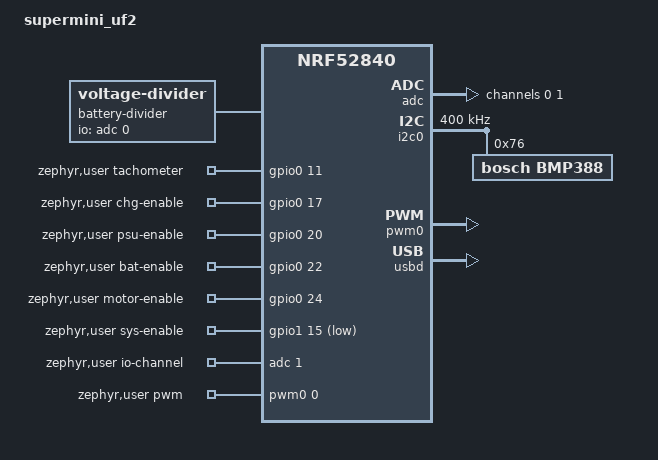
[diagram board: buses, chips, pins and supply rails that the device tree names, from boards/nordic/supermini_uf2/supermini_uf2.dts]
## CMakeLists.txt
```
#
# Copyright (c) 2018 Nordic Semiconductor
#
# SPDX-License-Identifier: LicenseRef-Nordic-5-Clause
#
cmake_minimum_required(VERSION 3.20.0)

find_package(Zephyr REQUIRED HINTS $ENV{ZEPHYR_BASE})
project(NONE)

FILE(GLOB_RECURSE app_sources src/*.c)
# NORDIC SDK APP START
target_sources(app PRIVATE ${app_sources})
# NORDIC SDK APP END

target_include_directories(app PRIVATE src)
```

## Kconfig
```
#
# Copyright (c) 2020 Nordic Semiconductor
#
# SPDX-License-Identifier: LicenseRef-Nordic-5-Clause
#

source "Kconfig.zephyr"
```

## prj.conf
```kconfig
#CONFIG_NCS_SAMPLES_DEFAULTS
CONFIG_ASSERT=y
CONFIG_ASSERT_NO_COND_INFO=y
CONFIG_ASSERT_NO_MSG_INFO=y
CONFIG_RESET_ON_FATAL_ERROR=y

CONFIG_USB_DEVICE_PRODUCT="bb870-rx"
CONFIG_NCS_APPLICATION_BOOT_BANNER_STRING="bb870-rx"
#CONFIG_NCS_BOOT_BANNER=n
CONFIG_BOOT_BANNER=n

CONFIG_ESB=y
CONFIG_NEWLIB_LIBC=y
CONFIG_CBPRINTF_FP_SUPPORT=y

CONFIG_USB_DEVICE_STACK=y
CONFIG_USB_DEVICE_HID=y
CONFIG_USB_HID_BOOT_PROTOCOL=y
CONFIG_USB_DEVICE_INITIALIZE_AT_BOOT=n
CONFIG_USB_CDC_ACM=y
CONFIG_UART_INTERRUPT_DRIVEN=y
CONFIG_USB_WORKQUEUE_STACK_SIZE=512

CONFIG_SERIAL=y
CONFIG_CONSOLE=y
CONFIG_UART_CONSOLE=y
CONFIG_UART_LINE_CTRL=y

CONFIG_LOG=y
CONFIG_USB_DRIVER_LOG_LEVEL_ERR=y
CONFIG_USB_DEVICE_LOG_LEVEL_ERR=y
CONFIG_USB_CDC_ACM_LOG_LEVEL_OFF=y
CONFIG_LOG_BUFFER_SIZE=16384
CONFIG_LOG_PROCESS_THREAD_SLEEP_MS=100
CONFIG_LOG_PROCESS_THREAD_STACK_SIZE=1024

CONFIG_LOG_BACKEND_UART=y
CONFIG_LOG_MODE_DEFERRED=y

CONFIG_CONSOLE_SUBSYS=y
CONFIG_CONSOLE_GETLINE=y

CONFIG_NVS_LOG_LEVEL_WRN=y
CONFIG_USB_HID_LOG_LEVEL_ERR=y

CONFIG_GPIO=y
CONFIG_PWM=y

CONFIG_NVS=y

CONFIG_FLASH=y
CONFIG_FLASH_PAGE_LAYOUT=y
CONFIG_FLASH_MAP=y

CONFIG_SETTINGS=y
CONFIG_SETTINGS_NVS=y
CONFIG_SETTINGS_RUNTIME=y
CONFIG_SETTINGS_NONE=y

CONFIG_MPU_ALLOW_FLASH_WRITE=y

CONFIG_NVS_LOOKUP_CACHE=y

CONFIG_ESB_TX_FIFO_SIZE=1

#speed up boot? (use internal rc oscillator)
CONFIG_CLOCK_CONTROL_NRF_K32SRC_RC=y
CONFIG_CLOCK_CONTROL_NRF_K32SRC_RC_CALIBRATION=n

# dont need it
CONFIG_CRYPTO=n

CONFIG_THREAD_NAME=y

CONFIG_ADC=y
CONFIG_ADC_LOG_LEVEL_OFF=y
CONFIG_POWEROFF=y

CONFIG_SENSOR=y
```

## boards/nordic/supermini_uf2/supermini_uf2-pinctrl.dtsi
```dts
&pinctrl {
	i2c0_default: i2c0_default {
		group1 {
			psels = <NRF_PSEL(TWIM_SDA, 0, 6)>, <NRF_PSEL(TWIM_SCL, 0, 8)>;
			bias-disable;
		};
	};

	i2c0_sleep: i2c0_sleep {
		group1 {
			psels = <NRF_PSEL(TWIM_SDA, 0, 6)>, <NRF_PSEL(TWIM_SCL, 0, 8)>;
			bias-disable;
			low-power-enable;
		};
	};

	pwm0_default: pwm0_default {
		group1 {
			psels = <NRF_PSEL(PWM_OUT0, 1, 00)>;
		};
	};

	pwm0_sleep: pwm0_sleep {
		group1 {
			psels = <NRF_PSEL(PWM_OUT0, 1, 00)>;
			low-power-enable;
		};
	};
};
```

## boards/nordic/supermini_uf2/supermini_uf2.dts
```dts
// Copyright (c) 2024 Nordic Semiconductor ASA
// SPDX-License-Identifier: Apache-2.0

/dts-v1/;
#include <nordic/nrf52840_qiaa.dtsi>
#include "supermini_uf2-pinctrl.dtsi"

/ {
	model = "supermini_uf2";
	compatible = "supermini_uf2";

	chosen {
		zephyr,sram = &sram0;
		zephyr,flash = &flash0;
		zephyr,console = &cdc_acm_uart0;
		zephyr,shell-uart = &cdc_acm_uart0;
	};

	battery-divider {
		compatible = "voltage-divider";
		status = "okay";
		io-channels = <&adc 0>;
		output-ohms = <220000>;
		full-ohms = <2420000>;
	};

	zephyr,user {
		io-channels = <&adc 1>;
		pwms = <&pwm0 0 PWM_KHZ(5) PWM_POLARITY_NORMAL>;
		tachometer-gpios = <&gpio0 11 GPIO_PULL_UP>;
		chg-enable-gpios = <&gpio0 17 GPIO_OPEN_SOURCE>;
		psu-enable-gpios = <&gpio0 20 GPIO_OPEN_SOURCE>;
		bat-enable-gpios = <&gpio0 22 GPIO_OPEN_SOURCE>;
		motor-enable-gpios = <&gpio0 24 0>;
		sys-enable-gpios = <&gpio1 15 (GPIO_ACTIVE_LOW | GPIO_PULL_UP)>;
	};
};

&reg1 {
	regulator-initial-mode = <NRF5X_REG_MODE_DCDC>;
};

&adc {
	#address-cells = <1>;
	#size-cells = <0>;
	status = "okay";

/* maximum input voltage is 29.4V into 2.2MOhm/220kOhm divider
 * -> 2673mV at ADC input, so adc gain 1/5 for 3000mV max
 */
	channel@0 {
		reg = <0>;
		zephyr,gain = "ADC_GAIN_1_5";
		zephyr,reference = "ADC_REF_INTERNAL";
		zephyr,acquisition-time = <ADC_ACQ_TIME(ADC_ACQ_TIME_MICROSECONDS, 40)>;
		zephyr,differential;
		zephyr,input-positive = <NRF_SAADC_AIN5>;
		zephyr,input-negative = <NRF_SAADC_AIN0>;
		zephyr,resolution = <14>;
		zephyr,oversampling = <4>;
	};

// PSU
	channel@1 {
		reg = <1>;
		zephyr,gain = "ADC_GAIN_1_4";
		zephyr,reference = "ADC_REF_INTERNAL";
		zephyr,acquisition-time = <ADC_ACQ_TIME(ADC_ACQ_TIME_MICROSECONDS, 10)>;
		zephyr,differential;
		zephyr,input-positive = <NRF_SAADC_AIN7>;
		zephyr,input-negative = <NRF_SAADC_AIN0>;
		zephyr,resolution = <12>;
		zephyr,oversampling = <2>;
	};
};

&gpio0 {
	status = "okay";
};

&gpio1 {
	status = "okay";
};

&gpiote {
	status = "okay";
};

&i2c0 {
	compatible = "nordic,nrf-twim";
	status = "okay";
	clock-frequency = <I2C_BITRATE_FAST>;
	pinctrl-0 = <&i2c0_default>;
	pinctrl-1 = <&i2c0_sleep>;
	pinctrl-names = "default", "sleep";

	bmp388: bmp388@76 {
		compatible = "bosch,bmp388";
		reg = <0x76>;
		odr = "100";
		osr-press = <2>;
		osr-temp = <1>;
		iir-filter = <1>;
	};
};

&pwm0 {
	status = "okay";
	pinctrl-0 = <&pwm0_default>;
	pinctrl-1 = <&pwm0_sleep>;
	pinctrl-names = "default", "sleep";
};

zephyr_udc0: &usbd {
	compatible = "nordic,nrf-usbd";
	status = "okay";
	cdc_acm_uart0: cdc_acm_uart0 {
		compatible = "zephyr,cdc-acm-uart";
	};
};

&cryptocell {
	status = "disabled";
};

&nfct {
	status = "disabled";
};
```

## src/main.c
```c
#include <zephyr/kernel.h>
#include <zephyr/sys/printk.h>
#include <zephyr/device.h>
#include <zephyr/drivers/adc.h>
#include <zephyr/drivers/gpio.h>
#include <zephyr/drivers/pwm.h>
#include <zephyr/drivers/sensor.h>
#include <hal/nrf_gpio.h>

#include "system/power.h"
#include "system/battery.h"
#include "connection/esb.h"

#include <math.h>

int battery_mV = 0;
int16_t battery_pptt = 0;

static int32_t psu_mV = 0;

static const struct adc_dt_spec psu_adc_channel = ADC_DT_SPEC_GET(DT_PATH(zephyr_user));

static float bmp_pressure = 0;
static float bmp_temperature = 0;

static const struct device *const bmp = DEVICE_DT_GET_ANY(bosch_bmp388);

#define PWM_PERIOD 100

static bool motor_state = false;
static float motor_pwm = 0.0f;
static int64_t last_pwm_time = 0;

static const struct pwm_dt_spec motor_pwm_channel = PWM_DT_SPEC_GET(DT_PATH(zephyr_user));

static bool charger_state = false;
static bool motor_source = false; // 0 = battery, 1 = psu
static bool motor_state_actual = false;

static const struct gpio_dt_spec battery_enable = GPIO_DT_SPEC_GET(DT_PATH(zephyr_user), bat_enable_gpios);
static const struct gpio_dt_spec psu_enable = GPIO_DT_SPEC_GET(DT_PATH(zephyr_user), psu_enable_gpios);
static const struct gpio_dt_spec charger_enable = GPIO_DT_SPEC_GET(DT_PATH(zephyr_user), chg_enable_gpios);
static const struct gpio_dt_spec motor_enable = GPIO_DT_SPEC_GET(DT_PATH(zephyr_user), motor_enable_gpios);
static const struct gpio_dt_spec sys_enable = GPIO_DT_SPEC_GET(DT_PATH(zephyr_user), sys_enable_gpios);

static bool battery_enabled = false;
static bool psu_enabled = false;
static bool charger_enabled = false;

static void battery_thread(void)
{
	while (1)
	{
		battery_pptt = read_batt_mV(&battery_mV);
		set_bat(battery_pptt / 100);
		k_msleep(100);
	}
}

K_THREAD_DEFINE(battery_thread_id, 512, battery_thread, NULL, NULL, NULL, 6, 0, 0);

static void psu_thread(void)
{
	uint16_t buf;
	struct adc_sequence sequence = {
		.buffer = &buf,
		/* buffer size in bytes, not number of samples */
		.buffer_size = sizeof(buf),
	};

	adc_channel_setup_dt(&psu_adc_channel);
	adc_sequence_init_dt(&psu_adc_channel, &sequence);

	while (1) {
		int32_t val_mv;

		adc_read_dt(&psu_adc_channel, &sequence);

		val_mv = (int32_t)buf;
		adc_raw_to_millivolts_dt(&psu_adc_channel, &val_mv);
		psu_mV = val_mv * (uint64_t)2420000 / 220000;

		if (motor_state_actual == true) {
			k_msleep(1);
		} else {
			k_msleep(100);
		}
	}
}

K_THREAD_DEFINE(psu_thread_id, 512, psu_thread, NULL, NULL, NULL, 6, 0, 50);

static void bmp_thread(void)
{
	struct sensor_value tmp;
	static float pres_offset = NAN;

	while (1)
	{
		if (sensor_sample_fetch(bmp))
		{
			printk("Failed to fetch sample from BMP388 device\n");
			return;
		}

		sensor_channel_get(bmp, SENSOR_CHAN_PRESS, &tmp);
		if (isnan(pres_offset))
			pres_offset = sensor_value_to_float(&tmp);
		bmp_pressure = sensor_value_to_float(&tmp) - pres_offset;

		sensor_channel_get(bmp, SENSOR_CHAN_AMBIENT_TEMP, &tmp);
		bmp_temperature = sensor_value_to_float(&tmp);

		k_msleep(5);
	}
}

K_THREAD_DEFINE(bmp_thread_id, 512, bmp_thread, NULL, NULL, NULL, 6, 0, 0);

/*
off (0) 0.0
10.5
lowest (11) 0.125
21.5
a (22) 0.25
32.5
b (33) 0.375
43.5
c (44) 0.5
53.5?
d (55) 0.625
64.5
e (66) 0.75
75.5
f (77) 0.875
86
highest (88) 1.0
*/

/*
min sent by rx: 0.1
max sent by rx: 1.0
off: 0.00
min: 0.11
max: 0.88
step: 0.11
steps: 9, i guess
*/

static void motor_thread(void)
{
	gpio_pin_configure_dt(&sys_enable, GPIO_INPUT);
	float last_pwm = 0;
	while (1) {
		float duty_cycle = get_val() / 32767.0f;
		if (duty_cycle > 0.1f) {
			duty_cycle = (duty_cycle - 0.1f) / 0.9f * 0.89f + 0.11f;
		}
		if (motor_source && duty_cycle > 0.6f) {
			duty_cycle = 0.6f; // limit to 60% on PSU
		}
//		duty_cycle = (duty_cycle < 0.1f && duty_cycle > 0) ? 0.1f : duty_cycle;
//		duty_cycle = duty_cycle < 0 ? 0 : duty_cycle;
//		duty_cycle = duty_cycle > 1 ? 1 : duty_cycle;
//		if (duty_cycle > 0.1f) {
//			duty_cycle = (duty_cycle - 0.1f) / 0.9f * 0.675f + 0.125f; // limit to 80%
//		}
//		motor_pwm = duty_cycle;
//		int step = duty_cycle / 0.125f;
//		float step_pwm = (duty_cycle - step * 0.125f) / 0.125f;
//		int sub_pwm = step_pwm * PWM_PERIOD;
//		duty_cycle = step * 0.125f;
//		if (k_uptime_get() % PWM_PERIOD < sub_pwm) {
//			duty_cycle += 0.125f;
//		}
		motor_pwm = duty_cycle;
		if (duty_cycle != 0 || duty_cycle != last_pwm) {
			if (duty_cycle == 0 && k_uptime_get() - last_pwm_time < 500) {
				duty_cycle = 0.1f;
			} else {
				last_pwm_time = k_uptime_get();
			}
			last_pwm = duty_cycle;
			if (motor_state == false) {
				printk("Motor starting\n");
				motor_state = true;
			}
			pwm_set_pulse_dt(&motor_pwm_channel, motor_state_actual ? motor_pwm_channel.period * duty_cycle : 0);
		} else if (motor_state == true && motor_pwm == 0 && k_uptime_get() - last_pwm_time > 5000) {
			motor_state = false;
			printk("Motor stopping\n");
		}
		if (motor_state_actual == true) {
			k_msleep(1);
		} else {
			k_msleep(100);
		}
	}
}

K_THREAD_DEFINE(motor_thread_id, 512, motor_thread, NULL, NULL, NULL, 6, 0, 0);

static void power_thread(void)
{
	gpio_pin_configure_dt(&battery_enable, GPIO_OUTPUT_INACTIVE);
	gpio_pin_configure_dt(&psu_enable, GPIO_OUTPUT_INACTIVE);
	gpio_pin_configure_dt(&charger_enable, GPIO_OUTPUT_INACTIVE);
	gpio_pin_configure_dt(&motor_enable, GPIO_OUTPUT_INACTIVE);
	gpio_pin_configure_dt(&sys_enable, GPIO_INPUT);
	while (1) {
		if (psu_mV > 24000 && charger_state == false) {
			printk("Enabling charger\n");
			charger_enabled = true;
			gpio_pin_set_dt(&charger_enable, 1);
			charger_state = true;
		} else if (psu_mV < 23000 && charger_state == true) {
			printk("Disabling charger\n");
			charger_enabled = false;
			gpio_pin_set_dt(&charger_enable, 0);
			charger_state = false;
		}
		if (gpio_pin_get_dt(&sys_enable) == 0 || (battery_mV && (battery_mV < 3000 * 7))) {
			if (gpio_pin_get_dt(&sys_enable) == 0) {
				nrf_gpio_cfg_sense_input(NRF_PIN_PORT_TO_PIN_NUMBER(sys_enable.pin, 1), NRF_GPIO_PIN_PULLUP, NRF_GPIO_PIN_SENSE_LOW);
			} else {
				nrf_gpio_cfg_sense_input(NRF_PIN_PORT_TO_PIN_NUMBER(sys_enable.pin, 1), NRF_GPIO_PIN_PULLUP, NRF_GPIO_PIN_SENSE_HIGH);
			}
			printk("System off\n");
			set_val(0);
			battery_enabled = false;
			psu_enabled = false;
			gpio_pin_set_dt(&motor_enable, 0);
			gpio_pin_set_dt(&battery_enable, 0);
			gpio_pin_set_dt(&psu_enable, 0);
			motor_state_actual = false;
			while (NRF_POWER->USBREGSTATUS & POWER_USBREGSTATUS_VBUSDETECT_Msk)
			{
				set_val(0);
				if (gpio_pin_get_dt(&sys_enable) == 1 && (!battery_mV || (battery_mV >= 3000 * 7))) {
					break;
				}
				if (psu_mV > 24000 && charger_state == false) {
					printk("Enabling charger\n");
					charger_enabled = true;
					gpio_pin_set_dt(&charger_enable, 1);
					charger_state = true;
				} else if (psu_mV < 23000 && charger_state == true) {
					printk("Disabling charger\n");
					charger_enabled = false;
					gpio_pin_set_dt(&charger_enable, 0);
					charger_state = false;
				}
				k_msleep(100);
			}
			if (gpio_pin_get_dt(&sys_enable) == 1 && (!battery_mV || (battery_mV >= 3000 * 7))) {
				set_val(0);
				printk("Cancel system off\n");
				continue;
			}
//			k_msleep(1000); // grace period
			nrf_gpio_cfg_input(31, NRF_GPIO_PIN_NOPULL);
			if (gpio_pin_get(psu_enable.port, 31)) {
				printk("PSU on\n");
				gpio_pin_set_dt(&charger_enable, 1);
				nrf_gpio_cfg_sense_input(31, NRF_GPIO_PIN_NOPULL, NRF_GPIO_PIN_SENSE_LOW);
			} else {
				printk("PSU off\n");
				gpio_pin_set_dt(&charger_enable, 0);
				nrf_gpio_cfg_sense_input(31, NRF_GPIO_PIN_NOPULL, NRF_GPIO_PIN_SENSE_HIGH);
			}
			sys_request_system_off();
		}
		if (psu_mV > 24000 && motor_source == 0) {
			if (motor_state_actual == true) {
				printk("Switching to PSU\n");
				battery_enabled = false;
				gpio_pin_set_dt(&battery_enable, 0);
				k_busy_wait(50);
				gpio_pin_set_dt(&psu_enable, 1);
				psu_enabled = true;
				printk("Done\n");
			} else {
				printk("Source set to PSU\n");
			}
			motor_source = 1;
		}
		if (psu_mV < 23000 && motor_source == 1) {
			if (motor_state_actual == true) {
				printk("Switching to Battery\n");
				psu_enabled = false;
				gpio_pin_set_dt(&psu_enable, 0);
				k_busy_wait(50);
				gpio_pin_set_dt(&battery_enable, 1);
				battery_enabled = true;
				printk("Done\n");
			} else {
				printk("Source set to Battery\n");
			}
			motor_source = 0;
		}
		if (motor_state) {
			if (motor_state_actual == false) {
				battery_enabled = false;
				psu_enabled = false;
				gpio_pin_set_dt(&battery_enable, 0);
				gpio_pin_set_dt(&psu_enable, 0);
				k_busy_wait(50);
				if (motor_source == 0) {
					battery_enabled = true;
					gpio_pin_set_dt(&battery_enable, 1);
					printk("Enabling battery\n");
				} else {
					psu_enabled = true;
					gpio_pin_set_dt(&psu_enable, 1);
					printk("Enabling PSU\n");
				}
				gpio_pin_set_dt(&motor_enable, 1);
				motor_state_actual = true;
			}
			gpio_pin_set_dt(&motor_enable, 1);
		} else {
			battery_enabled = false;
			psu_enabled = false;
			gpio_pin_set_dt(&motor_enable, 0);
			gpio_pin_set_dt(&battery_enable, 0);
			gpio_pin_set_dt(&psu_enable, 0);
			motor_state_actual = false;
		}
		if (motor_state_actual == true) {
			k_usleep(1);
		} else {
			k_msleep(100);
		}
	}
}

K_THREAD_DEFINE(power_thread_id, 512, power_thread, NULL, NULL, NULL, 6, 0, 0);

int main(void)
{
	while (1) {
		printk("PSU %5dmV, Bat %6.2f%% (%5dmV), PWM %6.2f%%, Mtr %d (%d), Src %d, Chg %d, B %d, P %d, C %d\n", psu_mV, battery_pptt / 100.0, battery_mV, (double)motor_pwm * 100, motor_state, motor_state_actual, motor_source, charger_state, battery_enabled, psu_enabled, charger_enabled);
		printk("Internal: %6.2f kPa, %6.2f C\n", (double)bmp_pressure, (double)bmp_temperature);
		k_msleep(100);
	}
	return 0;
}
```

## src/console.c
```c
#include <zephyr/logging/log.h>
#include "system/system.h"

#include <zephyr/usb/usb_device.h>
#include <zephyr/usb/class/usb_hid.h>
#include <zephyr/console/console.h>
#include <zephyr/logging/log_ctrl.h>

#include <zephyr/drivers/gpio.h>
#include <zephyr/console/console.h>
#include <zephyr/sys/reboot.h>
#include <zephyr/pm/device.h>
#include <zephyr/logging/log_ctrl.h>
#include "connection/esb.h"

#include <ctype.h>

#define DFU_DBL_RESET_MEM 0x20007F7C
#define DFU_DBL_RESET_APP 0x4ee5677e

uint32_t* dbl_reset_mem = ((uint32_t*) DFU_DBL_RESET_MEM);

LOG_MODULE_REGISTER(console, LOG_LEVEL_INF);

static void usb_init_thread(void);
K_THREAD_DEFINE(usb_init_thread_id, 256, usb_init_thread, NULL, NULL, NULL, 6, 0, 0);

static void console_thread(void);
static struct k_thread console_thread_id;
static K_THREAD_STACK_DEFINE(console_thread_id_stack, 512);

static const char *meows[] = {
	"Mew",
	"Meww",
	"Meow",
	"Meow meow",
	"Mrrrp",
	"Mrrf",
	"Mreow",
	"Mrrrow",
	"Mrrr",
	"Purr",
	"mew",
	"meww",
	"meow",
	"meow meow",
	"mrrrp",
	"mrrf",
	"mreow",
	"mrrrow",
	"mrrr",
	"purr",
};

static const char *meow_punctuations[] = {
	".",
	"?",
	"!",
	"-",
	"~",
	""
};

static const char *meow_suffixes[] = {
	" :3",
	" :3c",
	" ;3",
	" ;3c",
	" x3",
	" x3c",
	" X3",
	" X3c",
	" >:3",
	" >:3c",
	" >;3",
	" >;3c",
	""
};

static void skip_dfu(void)
{
	(*dbl_reset_mem) = DFU_DBL_RESET_APP; // Skip DFU
}

static void console_thread_create(void)
{
	k_thread_create(&console_thread_id, console_thread_id_stack, K_THREAD_STACK_SIZEOF(console_thread_id_stack), (k_thread_entry_t)console_thread, NULL, NULL, NULL, 6, 0, K_NO_WAIT);
}

static void status_cb(enum usb_dc_status_code status, const uint8_t *param)
{
	switch (status)
	{
	case USB_DC_CONNECTED:
		console_thread_create();
		break;
	case USB_DC_DISCONNECTED:
		k_thread_abort(&console_thread_id);
		break;
	default:
		LOG_DBG("status %u unhandled", status);
		break;
	}
}

static void usb_init_thread(void)
{
	usb_enable(status_cb);
}

static void print_meow(void)
{
	int64_t ticks = k_uptime_ticks();

	ticks %= ARRAY_SIZE(meows) * ARRAY_SIZE(meow_punctuations) * ARRAY_SIZE(meow_suffixes); // silly number generator
	uint8_t meow = ticks / (ARRAY_SIZE(meow_punctuations) * ARRAY_SIZE(meow_suffixes));
	ticks %= (ARRAY_SIZE(meow_punctuations) * ARRAY_SIZE(meow_suffixes));
	uint8_t punctuation = ticks / ARRAY_SIZE(meow_suffixes);
	uint8_t suffix = ticks % ARRAY_SIZE(meow_suffixes);

	printk("%s%s%s\n", meows[meow], meow_punctuations[punctuation], meow_suffixes[suffix]);
}

static void console_thread(void)
{
	console_getline_init();
	while (log_data_pending())
		k_usleep(1);
	k_msleep(100);

	printk("reboot                       Soft reset the device\n");
	printk("pair                         Enter pairing mode\n");
	printk("exit                         Exit pairing mode\n");
	printk("clear                        Clear stored devices\n");
	printk("dfu                          Enter DFU bootloader\n");
	printk("meow                         Meow!\n");

	uint8_t command_reboot[] = "reboot";
	uint8_t command_pair[] = "pair";
	uint8_t command_exit[] = "exit";
	uint8_t command_clear[] = "clear";
	uint8_t command_dfu[] = "dfu";
	uint8_t command_meow[] = "meow";

	while (1) {
		uint8_t *line = console_getline();
		for (uint8_t *p = line; *p; ++p) {
			*p = tolower(*p);
		}

		if (memcmp(line, command_reboot, sizeof(command_reboot)) == 0)
		{
			skip_dfu();
			sys_reboot(SYS_REBOOT_COLD);
		}
		else if (memcmp(line, command_pair, sizeof(command_pair)) == 0)
		{
			esb_reset_pair();
		}
		else if (memcmp(line, command_exit, sizeof(command_exit)) == 0)
		{
			esb_finish_pair();
		}
		else if (memcmp(line, command_clear, sizeof(command_clear)) == 0) 
		{
			esb_clear();
		}
		else if (memcmp(line, command_dfu, sizeof(command_dfu)) == 0)
		{
			NRF_POWER->GPREGRET = 0x57;
			sys_reboot(SYS_REBOOT_COLD);
		}
		else if (memcmp(line, command_meow, sizeof(command_meow)) == 0) 
		{
			print_meow();
		}
		else
		{
			printk("Unknown command\n");
		}
	}
}
```
